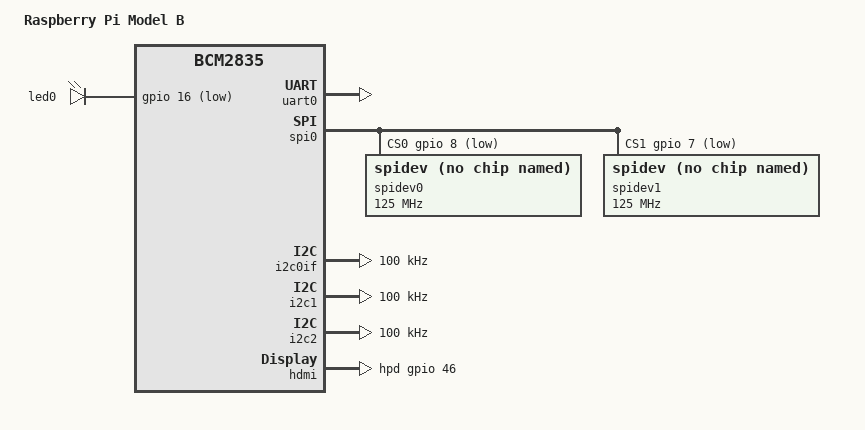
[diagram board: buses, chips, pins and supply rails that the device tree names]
/dts-v1/;

#include "bcm2708.dtsi"
#include "bcm2708-rpi.dtsi"
#include "bcm283x-rpi-smsc9512.dtsi"
#include "bcm283x-rpi-csi1-2lane.dtsi"

/ {
	compatible = "raspberrypi,model-b", "brcm,bcm2835";
	model = "Raspberry Pi Model B";
};

&gpio {
	/*
	 * Taken from Raspberry-Pi-Rev-1.0-Model-AB-Schematics.pdf
	 * RPI00021 sheet 02
	 *
	 * Legend:
	 * "NC" = not connected (no rail from the SoC)
	 * "FOO" = GPIO line named "FOO" on the schematic
	 * "FOO_N" = GPIO line named "FOO" on schematic, active low
	 */
	gpio-line-names = "SDA0",
			  "SCL0",
			  "SDA1",
			  "SCL1",
			  "GPIO_GCLK",
			  "CAM_GPIO1",
			  "LAN_RUN",
			  "SPI_CE1_N",
			  "SPI_CE0_N",
			  "SPI_MISO",
			  "SPI_MOSI",
			  "SPI_SCLK",
			  "NC", /* GPIO12 */
			  "NC", /* GPIO13 */
			  /* Serial port */
			  "TXD0",
			  "RXD0",
			  "STATUS_LED_N",
			  "GPIO17",
			  "GPIO18",
			  "NC", /* GPIO19 */
			  "NC", /* GPIO20 */
			  "GPIO21",
			  "GPIO22",
			  "GPIO23",
			  "GPIO24",
			  "GPIO25",
			  "NC", /* GPIO26 */
			  "CAM_GPIO0",
			  /* Binary number representing build/revision */
			  "CONFIG0",
			  "CONFIG1",
			  "CONFIG2",
			  "CONFIG3",
			  "NC", /* GPIO32 */
			  "NC", /* GPIO33 */
			  "NC", /* GPIO34 */
			  "NC", /* GPIO35 */
			  "NC", /* GPIO36 */
			  "NC", /* GPIO37 */
			  "NC", /* GPIO38 */
			  "NC", /* GPIO39 */
			  "PWM0_OUT",
			  "NC", /* GPIO41 */
			  "NC", /* GPIO42 */
			  "NC", /* GPIO43 */
			  "NC", /* GPIO44 */
			  "PWM1_OUT",
			  "HDMI_HPD_P",
			  "SD_CARD_DET",
			  /* Used by SD Card */
			  "SD_CLK_R",
			  "SD_CMD_R",
			  "SD_DATA0_R",
			  "SD_DATA1_R",
			  "SD_DATA2_R",
			  "SD_DATA3_R";

	spi0_pins: spi0_pins {
		brcm,pins = <9 10 11>;
		brcm,function = <4>; /* alt0 */
	};

	spi0_cs_pins: spi0_cs_pins {
		brcm,pins = <8 7>;
		brcm,function = <1>; /* output */
	};

	i2c0_pins: i2c0 {
		brcm,pins = <0 1>;
		brcm,function = <4>;
	};

	i2c1_pins: i2c1 {
		brcm,pins = <2 3>;
		brcm,function = <4>;
	};

	i2s_pins: i2s {
		brcm,pins = <28 29 30 31>;
		brcm,function = <6>; /* alt2 */
	};

	audio_pins: audio_pins {
		brcm,pins = <40 45>;
		brcm,function = <4>;
		brcm,pull = <0>;
	};
};

&uart0 {
	status = "okay";
};

&spi0 {
	pinctrl-names = "default";
	pinctrl-0 = <&spi0_pins &spi0_cs_pins>;
	cs-gpios = <&gpio 8 1>, <&gpio 7 1>;

	spidev0: spidev@0{
		compatible = "spidev";
		reg = <0>;	/* CE0 */
		#address-cells = <1>;
		#size-cells = <0>;
		spi-max-frequency = <125000000>;
	};

	spidev1: spidev@1{
		compatible = "spidev";
		reg = <1>;	/* CE1 */
		#address-cells = <1>;
		#size-cells = <0>;
		spi-max-frequency = <125000000>;
	};
};

/delete-node/ &i2c0mux;

i2c0: &i2c0if {
	pinctrl-names = "default";
	pinctrl-0 = <&i2c0_pins>;
	clock-frequency = <100000>;
};

i2c_csi_dsi: &i2c1 {
	pinctrl-names = "default";
	pinctrl-0 = <&i2c1_pins>;
	clock-frequency = <100000>;
};

/ {
	aliases {
		i2c0 = &i2c0;
	};

	/* Provide an i2c0mux label to avoid undefined symbols in overlays */
	i2c0mux: i2c0mux {
	};

	__overrides__ {
		i2c0 = <&i2c0>, "status";
	};
};

&i2c2 {
	clock-frequency = <100000>;
};

&i2s {
	pinctrl-names = "default";
	pinctrl-0 = <&i2s_pins>;
};

&leds {
	act_led: led-act {
		label = "led0";
		default-state = "off";
		linux,default-trigger = "mmc0";
		gpios = <&gpio 16 1>;
	};
};

&hdmi {
	hpd-gpios = <&gpio 46 GPIO_ACTIVE_HIGH>;
};

&vchiq {
	pinctrl-names = "default";
	pinctrl-0 = <&audio_pins>;
};

&cam1_reg {
	gpio = <&gpio 27 GPIO_ACTIVE_HIGH>;
};

cam0_reg: &cam_dummy_reg {
};

/ {
	__overrides__ {
		audio = <&chosen>,"bootargs{on='snd_bcm2835.enable_headphones=1 snd_bcm2835.enable_hdmi=1',off='snd_bcm2835.enable_headphones=0 snd_bcm2835.enable_hdmi=0'}";

		act_led_gpio = <&act_led>,"gpios:4";
		act_led_activelow = <&act_led>,"gpios:8";
		act_led_trigger = <&act_led>,"linux,default-trigger";
	};
};
